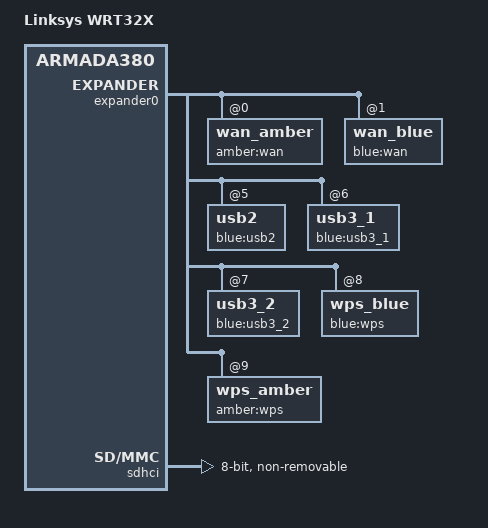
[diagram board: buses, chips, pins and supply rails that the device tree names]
/*
 * Device Tree file for the Linksys WRT32X (Venom)
 *
 * Copyright (C) 2017 Imre Kaloz <kaloz@openwrt.org>
 *
 *
 * This file is dual-licensed: you can use it either under the terms
 * of the GPL or the X11 license, at your option. Note that this dual
 * licensing only applies to this file, and not this project as a
 * whole.
 *
 *  a) This file is licensed under the terms of the GNU General Public
 *     License version 2.  This program is licensed "as is" without
 *     any warranty of any kind, whether express or implied.
 *
 * Or, alternatively,
 *
 *  b) Permission is hereby granted, free of charge, to any person
 *     obtaining a copy of this software and associated documentation
 *     files (the "Software"), to deal in the Software without
 *     restriction, including without limitation the rights to use,
 *     copy, modify, merge, publish, distribute, sublicense, and/or
 *     sell copies of the Software, and to permit persons to whom the
 *     Software is furnished to do so, subject to the following
 *     conditions:
 *
 *     The above copyright notice and this permission notice shall be
 *     included in all copies or substantial portions of the Software.
 *
 *     THE SOFTWARE IS PROVIDED "AS IS", WITHOUT WARRANTY OF ANY KIND,
 *     EXPRESS OR IMPLIED, INCLUDING BUT NOT LIMITED TO THE WARRANTIES
 *     OF MERCHANTABILITY, FITNESS FOR A PARTICULAR PURPOSE AND
 *     NONINFRINGEMENT. IN NO EVENT SHALL THE AUTHORS OR COPYRIGHT
 *     HOLDERS BE LIABLE FOR ANY CLAIM, DAMAGES OR OTHER LIABILITY,
 *     WHETHER IN AN ACTION OF CONTRACT, TORT OR OTHERWISE, ARISING
 *     FROM, OUT OF OR IN CONNECTION WITH THE SOFTWARE OR THE USE OR
 *     OTHER DEALINGS IN THE SOFTWARE.
 */

/dts-v1/;
#include <dt-bindings/gpio/gpio.h>
#include <dt-bindings/input/input.h>
#include "armada-385-linksys.dtsi"

/ {
	model = "Linksys WRT32X";
	compatible = "linksys,wrt32x", "linksys,venom", "linksys,armada385",
		     "marvell,armada385", "marvell,armada380";

	chosen {
		bootargs = "console=ttyS0,115200";
		stdout-path = "serial0:115200n8";
		append-rootblock = "root=/dev/mtdblock";
	};
};

&expander0 {
	wan_amber@0 {
		label = "amber:wan";
		reg = <0x0>;
	};

	wan_blue@1 {
		label = "blue:wan";
		reg = <0x1>;
	};

	usb2@5 {
		label = "blue:usb2";
		reg = <0x5>;
	};

	usb3_1@6 {
		label = "blue:usb3_1";
		reg = <0x6>;
	};

	usb3_2@7 {
		label = "blue:usb3_2";
		reg = <0x7>;
	};

	wps_blue@8 {
		label = "blue:wps";
		reg = <0x8>;
	};

	wps_amber@9 {
		label = "amber:wps";
		reg = <0x9>;
	};
};

&gpio_leds {
	power {
		gpios = <&gpio1 24 GPIO_ACTIVE_HIGH>;
		label = "blue:power";
	};

	sata {
		gpios = <&gpio1 21 GPIO_ACTIVE_LOW>;
		label = "blue:sata";
	};

	wlan_2g {
		gpios = <&gpio1 13 GPIO_ACTIVE_LOW>;
		label = "blue:wlan_2g";
	};

	wlan_5g {
		gpios = <&gpio1 14 GPIO_ACTIVE_LOW>;
		label = "blue:wlan_5g";
	};
};

&gpio_leds_pins {
	marvell,pins = "mpp21", "mpp45", "mpp46", "mpp56";
};

&nand {
	/* Spansion S34ML02G2 256MiB, OEM Layout */
	partitions {
		compatible = "fixed-partitions";
		#address-cells = <1>;
		#size-cells = <1>;

		partition@0 {
			label = "u-boot";
			reg = <0x0000000 0x200000>;	/* 2MB */
			read-only;
		};

		partition@200000 {
			label = "u_env";
			reg = <0x200000 0x20000>;	/* 128KB */
		};

		partition@220000 {
			label = "s_env";
			reg = <0x220000 0x40000>;	/* 256KB */
		};

		partition@180000 {
			label = "unused_area";
			reg = <0x260000 0x5c0000>;	/* 5.75MB */
		};

		partition@7e0000 {
			label = "devinfo";
			reg = <0x7e0000 0x40000>;	/* 256KB */
			read-only;
		};

		/* kernel1 overlaps with rootfs1 by design */
		partition@900000 {
			label = "kernel1";
			reg = <0x900000 0x7b00000>;	/* 123MB */
		};

		partition@f00000 {
			label = "rootfs1";
			reg = <0xf00000 0x7500000>;	/* 117MB */
		};

		/* kernel2 overlaps with rootfs2 by design */
		partition@8400000 {
			label = "kernel2";
			reg = <0x8400000 0x7b00000>;	/* 123MB */
		};

		partition@8a00000 {
			label = "rootfs2";
			reg = <0x8a00000 0x7500000>;	/* 117MB */
		};

		/* last MB is for the BBT, not writable */
		partition@ff00000 {
			label = "BBT";
			reg = <0xff00000 0x100000>;
		};
	};
};


&pcie1 {
	mwlwifi {
		marvell,chainmask = <4 4>;
	};
};

&pcie2 {
	mwlwifi {
		marvell,chainmask = <4 4>;
	};
};

&sdhci {
	pinctrl-names = "default";
	pinctrl-0 = <&sdhci_pins>;
	no-1-8-v;
	non-removable;
	wp-inverted;
	bus-width = <8>;
	status = "okay";
};

&usb3_1_vbus {
	gpio = <&gpio1 12 GPIO_ACTIVE_HIGH>;
};

&usb3_1_vbus_pins {
	marvell,pins = "mpp44";
};
